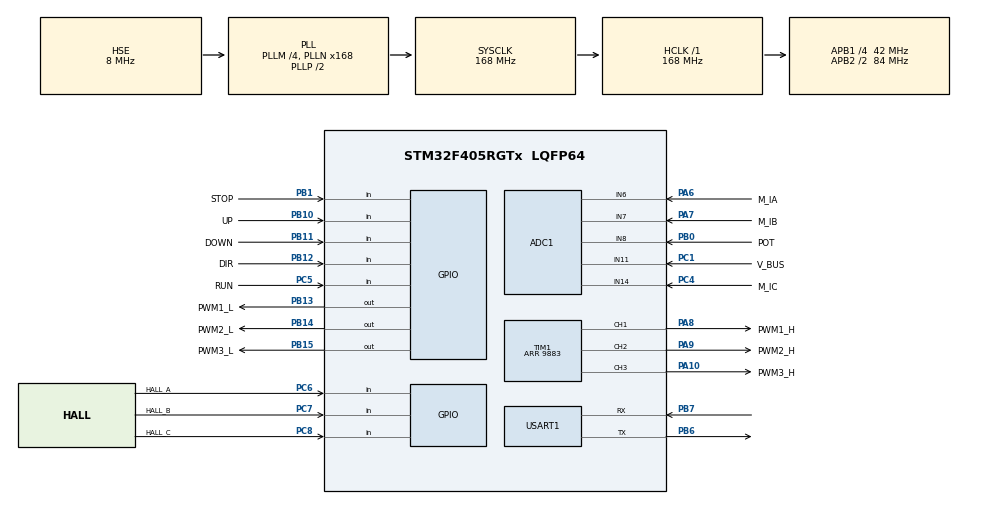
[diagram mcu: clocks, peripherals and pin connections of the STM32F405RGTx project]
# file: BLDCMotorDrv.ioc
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ADC1.Channel-10\#ChannelRegularConversion=ADC_CHANNEL_14
ADC1.Channel-6\#ChannelRegularConversion=ADC_CHANNEL_6
ADC1.Channel-7\#ChannelRegularConversion=ADC_CHANNEL_7
ADC1.Channel-8\#ChannelRegularConversion=ADC_CHANNEL_8
ADC1.Channel-9\#ChannelRegularConversion=ADC_CHANNEL_11
ADC1.ContinuousConvMode=ENABLE
ADC1.DMAContinuousRequests=ENABLE
ADC1.NbrOfConversion=5
ADC1.NbrOfConversionFlag=1
ADC1.Rank-10\#ChannelRegularConversion=5
ADC1.Rank-6\#ChannelRegularConversion=1
ADC1.Rank-7\#ChannelRegularConversion=2
ADC1.Rank-8\#ChannelRegularConversion=3
ADC1.Rank-9\#ChannelRegularConversion=4
ADC1.SamplingTime-10\#ChannelRegularConversion=ADC_SAMPLETIME_3CYCLES
ADC1.SamplingTime-6\#ChannelRegularConversion=ADC_SAMPLETIME_3CYCLES
ADC1.SamplingTime-7\#ChannelRegularConversion=ADC_SAMPLETIME_3CYCLES
ADC1.SamplingTime-8\#ChannelRegularConversion=ADC_SAMPLETIME_3CYCLES
ADC1.SamplingTime-9\#ChannelRegularConversion=ADC_SAMPLETIME_3CYCLES
ADC1.ScanConvMode=ENABLE
ADC1.master=1
Dma.ADC1.0.Direction=DMA_PERIPH_TO_MEMORY
Dma.ADC1.0.FIFOMode=DMA_FIFOMODE_DISABLE
Dma.ADC1.0.Instance=DMA2_Stream0
Dma.ADC1.0.MemDataAlignment=DMA_MDATAALIGN_WORD
Dma.ADC1.0.MemInc=DMA_MINC_ENABLE
Dma.ADC1.0.Mode=DMA_CIRCULAR
Dma.ADC1.0.PeriphDataAlignment=DMA_PDATAALIGN_WORD
Dma.ADC1.0.PeriphInc=DMA_PINC_DISABLE
Dma.ADC1.0.Priority=DMA_PRIORITY_LOW
Dma.Request0=ADC1
Mcu.Family=STM32F4
Mcu.Name=STM32F405RGTx
Mcu.Package=LQFP64
NVIC.DMA2_Stream0_IRQn=true\:0\:0\:false\:false\:true\:false\:true
NVIC.PriorityGroup=NVIC_PRIORITYGROUP_4
NVIC.TIM1_UP_TIM10_IRQn=true\:0\:0\:false\:false\:true\:true\:true
PA10.GPIO_Label=PWM3_H
PA10.GPIO_Speed=GPIO_SPEED_FREQ_HIGH
PA10.Signal=S_TIM1_CH3
PA13.Mode=Serial_Wire
PA13.Signal=SYS_JTMS-SWDIO
PA14.Mode=Serial_Wire
PA14.Signal=SYS_JTCK-SWCLK
PA6.GPIO_Label=M_IA
PA6.Signal=ADCx_IN6
PA7.GPIO_Label=M_IB
PA7.Signal=ADCx_IN7
PA8.GPIO_Label=PWM1_H
PA8.GPIO_Speed=GPIO_SPEED_FREQ_HIGH
PA8.Signal=S_TIM1_CH1
PA9.GPIO_Label=PWM2_H
PA9.GPIO_Speed=GPIO_SPEED_FREQ_HIGH
PA9.Signal=S_TIM1_CH2
PB0.GPIO_Label=POT
PB0.Signal=ADCx_IN8
PB1.GPIO_Label=STOP
PB1.GPIO_PuPd=GPIO_PULLUP
PB1.Signal=GPIO_Input
PB10.GPIO_Label=UP
PB10.GPIO_PuPd=GPIO_PULLUP
PB10.Signal=GPIO_Input
PB11.GPIO_Label=DOWN
PB11.GPIO_PuPd=GPIO_PULLUP
PB11.Signal=GPIO_Input
PB12.GPIO_Label=DIR
PB12.GPIO_PuPd=GPIO_PULLUP
PB12.Signal=GPIO_Input
PB13.GPIO_Label=PWM1_L
PB13.GPIO_Speed=GPIO_SPEED_FREQ_HIGH
PB13.Signal=GPIO_Output
PB14.GPIO_Label=PWM2_L
PB14.GPIO_Speed=GPIO_SPEED_FREQ_HIGH
PB14.Signal=GPIO_Output
PB15.GPIO_Label=PWM3_L
PB15.GPIO_Speed=GPIO_SPEED_FREQ_HIGH
PB15.Signal=GPIO_Output
PB6.Mode=Asynchronous
PB6.Signal=USART1_TX
PB7.Mode=Asynchronous
PB7.Signal=USART1_RX
PC1.GPIO_Label=V_BUS
PC1.Signal=ADCx_IN11
PC4.GPIO_Label=M_IC
PC4.Signal=ADCx_IN14
PC5.GPIO_Label=RUN
PC5.GPIO_PuPd=GPIO_PULLUP
PC5.Signal=GPIO_Input
PC6.GPIO_Label=HALL_A
PC6.GPIO_PuPd=GPIO_PULLUP
PC6.Signal=GPIO_Input
PC7.GPIO_Label=HALL_B
PC7.GPIO_PuPd=GPIO_PULLUP
PC7.Signal=GPIO_Input
PC8.GPIO_Label=HALL_C
PC8.GPIO_PuPd=GPIO_PULLUP
PC8.Signal=GPIO_Input
PH0-OSC_IN.Mode=HSE-External-Oscillator
PH0-OSC_IN.Signal=RCC_OSC_IN
PH1-OSC_OUT.Mode=HSE-External-Oscillator
PH1-OSC_OUT.Signal=RCC_OSC_OUT
ProjectManager.HeapSize=0x200
ProjectManager.StackSize=0x400
ProjectManager.TargetToolchain=Makefile
RCC.48MHZClocksFreq_Value=84000000
RCC.AHBFreq_Value=168000000
RCC.APB1CLKDivider=RCC_HCLK_DIV4
RCC.APB1Freq_Value=42000000
RCC.APB1TimFreq_Value=84000000
RCC.APB2CLKDivider=RCC_HCLK_DIV2
RCC.APB2Freq_Value=84000000
RCC.APB2TimFreq_Value=168000000
RCC.CortexFreq_Value=168000000
RCC.EnbaleCSS=true
RCC.HCLKFreq_Value=168000000
RCC.HSE_VALUE=8000000
RCC.HSI_VALUE=16000000
RCC.LSE_VALUE=32768
RCC.PLLM=4
RCC.PLLN=168
RCC.PLLSourceVirtual=RCC_PLLSOURCE_HSE
RCC.SYSCLKFreq_VALUE=168000000
RCC.SYSCLKSource=RCC_SYSCLKSOURCE_PLLCLK
RCC.VCOOutputFreq_Value=336000000
SH.ADCx_IN11.0=ADC1_IN11,IN11
SH.ADCx_IN14.0=ADC1_IN14,IN14
SH.ADCx_IN6.0=ADC1_IN6,IN6
SH.ADCx_IN7.0=ADC1_IN7,IN7
SH.ADCx_IN8.0=ADC1_IN8,IN8
SH.S_TIM1_CH1.0=TIM1_CH1,PWM Generation1 CH1
SH.S_TIM1_CH2.0=TIM1_CH2,PWM Generation2 CH2
SH.S_TIM1_CH3.0=TIM1_CH3,PWM Generation3 CH3
TIM1.Channel-PWM\ Generation1\ CH1=TIM_CHANNEL_1
TIM1.Channel-PWM\ Generation2\ CH2=TIM_CHANNEL_2
TIM1.Channel-PWM\ Generation3\ CH3=TIM_CHANNEL_3
TIM1.Period=9883
USART1.VirtualMode=VM_ASYNC
board=custom

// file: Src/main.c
/* USER CODE BEGIN Header */
/**
  ******************************************************************************
  * @file           : main.c
  * @brief          : Main program body
  ******************************************************************************
  * @attention
  *
  * <h2><center>&copy; Copyright (c) 2019 STMicroelectronics.
  * All rights reserved.</center></h2>
  *
  * This software component is licensed by ST under BSD 3-Clause license,
  * the "License"; You may not use this file except in compliance with the
  * License. You may obtain a copy of the License at:
  *                        opensource.org/licenses/BSD-3-Clause
  *
  ******************************************************************************
  */
/* USER CODE END Header */

#include "main.h"
#include "adc.h"
#include "dma.h"
#include "tim.h"
#include "usart.h"
#include "gpio.h"

/* USER CODE BEGIN Includes */
#include "myprint.h"
#include "bldc.h"
#include "keyscan.h"
/* USER CODE END Includes */

/* USER CODE BEGIN PV */
extern HALL hallTree;
extern STATE stateContr;
extern PIDREG_T piSpd;
extern PIDREG_T piICurr;
extern volatile uint32_t ADC_DualConvertValTab[5];
/* USER CODE END PV */

void SystemClock_Config(void);

/* USER CODE BEGIN 0 */

//volatile uint32_t DMATransComplete = 0;
/* USER CODE END 0 */

int main(void)
{

  /* MCU Configuration--------------------------------------------------------*/

  /* Reset of all peripherals, Initializes the Flash interface and the Systick. */
  HAL_Init();

  /* Configure the system clock */
  SystemClock_Config();

  /* Initialize all configured peripherals */
  MX_GPIO_Init();
  MX_DMA_Init();
  MX_ADC1_Init();
  MX_USART1_UART_Init();
  MX_TIM1_Init();
  /* USER CODE BEGIN 2 */
  uint32_t ad1,ad2,ad3,ad4,ad5;
  //extern volatile uint32_t adcConvertTime;
  if(HAL_ADC_Start_DMA(&hadc1,(uint32_t*)&ADC_DualConvertValTab,5) != HAL_OK)
  {
    myPrint("error!\r\n");
  }
  HAL_TIM_PWM_Start(&htim1,TIM_CHANNEL_1);
  HAL_TIM_PWM_Start(&htim1,TIM_CHANNEL_2);
  HAL_TIM_PWM_Start(&htim1,TIM_CHANNEL_3);
  __HAL_TIM_SetCompare(&htim1,TIM_CHANNEL_1,499);
  __HAL_TIM_SetCompare(&htim1,TIM_CHANNEL_2,499);
  __HAL_TIM_SetCompare(&htim1,TIM_CHANNEL_3,499);
  /* USER CODE END 2 */

  /* Infinite loop */
  while (1)
  {

    /* USER CODE BEGIN 3 */
    HAL_Delay(20);
    ad1 = ADC_DualConvertValTab[0];
    ad2 = ADC_DualConvertValTab[1];
    ad3 = ADC_DualConvertValTab[2];
    ad4 = ADC_DualConvertValTab[3];
    ad5 = ADC_DualConvertValTab[4];
    __HAL_TIM_SetCompare(&htim1,TIM_CHANNEL_1,ad1);
    __HAL_TIM_SetCompare(&htim1,TIM_CHANNEL_2,ad2);
    myPrint("%d | %d | %d | %d | %d \r\n",ad1,ad2,ad3,ad4,ad5);
    keyScan();
  }
  /* USER CODE END 3 */
}

void SystemClock_Config(void)
{
  RCC_OscInitTypeDef RCC_OscInitStruct = {0};
  RCC_ClkInitTypeDef RCC_ClkInitStruct = {0};

  /** Configure the main internal regulator output voltage
  */
  __HAL_RCC_PWR_CLK_ENABLE();
  __HAL_PWR_VOLTAGESCALING_CONFIG(PWR_REGULATOR_VOLTAGE_SCALE1);
  /** Initializes the CPU, AHB and APB busses clocks
  */
  RCC_OscInitStruct.OscillatorType = RCC_OSCILLATORTYPE_HSE;
  RCC_OscInitStruct.HSEState = RCC_HSE_ON;
  RCC_OscInitStruct.PLL.PLLState = RCC_PLL_ON;
  RCC_OscInitStruct.PLL.PLLSource = RCC_PLLSOURCE_HSE;
  RCC_OscInitStruct.PLL.PLLM = 4;
  RCC_OscInitStruct.PLL.PLLN = 168;
  RCC_OscInitStruct.PLL.PLLP = RCC_PLLP_DIV2;
  RCC_OscInitStruct.PLL.PLLQ = 4;
  if (HAL_RCC_OscConfig(&RCC_OscInitStruct) != HAL_OK)
  {
    Error_Handler();
  }
  /** Initializes the CPU, AHB and APB busses clocks
  */
  RCC_ClkInitStruct.ClockType = RCC_CLOCKTYPE_HCLK|RCC_CLOCKTYPE_SYSCLK
                              |RCC_CLOCKTYPE_PCLK1|RCC_CLOCKTYPE_PCLK2;
  RCC_ClkInitStruct.SYSCLKSource = RCC_SYSCLKSOURCE_PLLCLK;
  RCC_ClkInitStruct.AHBCLKDivider = RCC_SYSCLK_DIV1;
  RCC_ClkInitStruct.APB1CLKDivider = RCC_HCLK_DIV4;
  RCC_ClkInitStruct.APB2CLKDivider = RCC_HCLK_DIV2;

  if (HAL_RCC_ClockConfig(&RCC_ClkInitStruct, FLASH_LATENCY_5) != HAL_OK)
  {
    Error_Handler();
  }
  /** Enables the Clock Security System
  */
  HAL_RCC_EnableCSS();
}

void Error_Handler(void)
{
}

/************************ (C) COPYRIGHT STMicroelectronics *****END OF FILE****/
